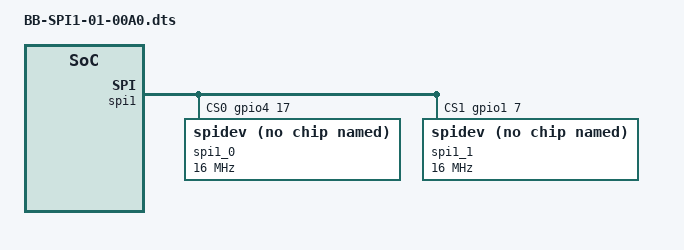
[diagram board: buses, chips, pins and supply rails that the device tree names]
/*
	From http://hipstercircuits.com/enable-spi-with-device-tree-on-beaglebone-black-copy-paste/
*/

/dts-v1/;
/plugin/;

/ {
    compatible = "ti,beaglebone", "ti,beaglebone-black";

    /* identification */
    part-number = "BB-SPI1-01";

    /* version */
    version = "00A0";

    /* state the resources this cape uses */
    exclusive-use =
        /* the pin header uses */
        /* "P9.31", */
        /* "P9.29", */
        "P9.30",
        /* "P9.28", */
        "P9.13",
        "P9.12", 
        "spi1";

    fragment@0 {
        target = <&am33xx_pinmux>;
        __overlay__ {
            pinctrl_spi1: pinctrl_spi1_pins {
                pinctrl-single,pins = <                                        
                    0x190 0x13    /* P9_31 = mcasp0_aclkx.spi1_sclk, OUTPUT_PULLUP | MODE3 */
                    0x194 0x33    /* P9_29 = mcasp0_fsx.spi1_d0,     INPUT_PULLUP  | MODE3 */
                    0x198 0x13    /* P9_30 = mcasp0_axr0.spi1_d1,    OUTPUT_PULLUP | MODE3 */
                    0x19c 0x13    /* P9_28 = mcasp0_ahclkr.spi1_cs0, OUTPUT_PULLUP | MODE3 */
                    0x164 0x12    /* P9_42 = GPIO0_7 =  eCAP0_in_PWM0_out.gpio0[7] , OUTPUT_PULLUP | MODE2 */
                >;
            };
        };
    };


    fragment@1 {
        target = <&spi1>;
        __overlay__ {
            #address-cells     = <1>;
            #size-cells     = <0>;
            status            = "okay";
            pinctrl-names    = "default";
            pinctrl-0        = <&pinctrl_spi1>;    
            cs-gpios         = <&gpio4 17 0>, <&gpio1 7 0>;

            spi1_0{
                #address-cells       = <1>;
                #size-cells       = <0>;
                compatible           = "spidev";
                reg               = <0>;
                spi-max-frequency = <16000000>;
                spi-cpha;          
            };
            spi1_1{
                #address-cells       = <1>;
                #size-cells       = <0>;
                compatible           = "spidev";
                reg               = <1>;
                spi-max-frequency = <16000000>;
                // Mode 0 (CPOL = 0, CPHA = 0)
            };
        };
    };
};
